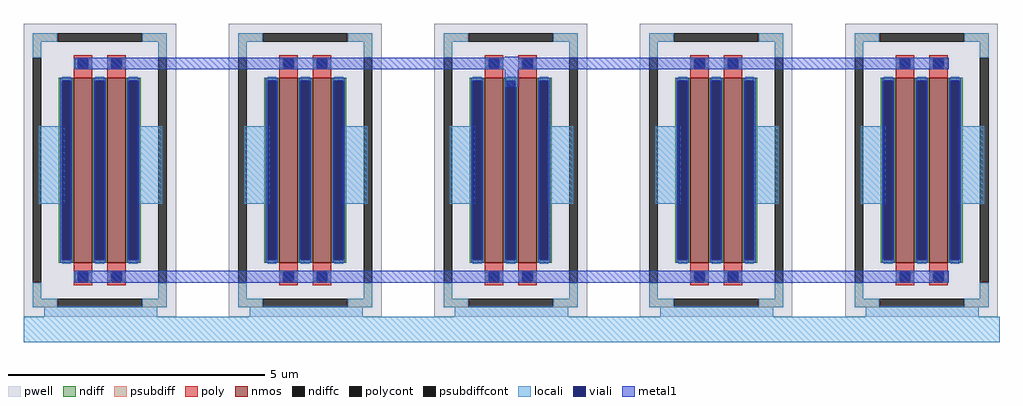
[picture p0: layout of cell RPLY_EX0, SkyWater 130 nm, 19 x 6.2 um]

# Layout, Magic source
magic
tech sky130B
magscale 1 2
<< locali >>
rect 660 340 760 640
rect 1040 340 1140 640
rect 1460 340 1560 640
rect 1840 340 1940 640
rect 2260 340 2360 640
rect 2640 340 2740 640
rect 3060 340 3160 640
rect 3440 340 3540 640
rect 3860 340 3960 640
rect 4240 340 4340 640
rect 680 -100 1120 -60
rect 1480 -100 1920 -60
rect 2280 -100 2720 -60
rect 3080 -100 3520 -60
rect 3880 -100 4320 -60
rect 600 -200 4400 -100
<< metal1 >>
rect 2474 908 2527 912
rect 800 862 4203 908
rect 2474 794 2527 862
rect 800 32 4203 78
use sky130_fd_pr__nfet_01v8_5CE34N  sky130_fd_pr__nfet_01v8_5CE34N_0
transform 1 0 4097 0 1 470
box -297 -570 297 570
use sky130_fd_pr__nfet_01v8_5CE34N  sky130_fd_pr__nfet_01v8_5CE34N_1
transform 1 0 897 0 1 470
box -297 -570 297 570
use sky130_fd_pr__nfet_01v8_5CE34N  sky130_fd_pr__nfet_01v8_5CE34N_2
transform 1 0 1697 0 1 470
box -297 -570 297 570
use sky130_fd_pr__nfet_01v8_5CE34N  sky130_fd_pr__nfet_01v8_5CE34N_3
transform 1 0 2497 0 1 470
box -297 -570 297 570
use sky130_fd_pr__nfet_01v8_5CE34N  sky130_fd_pr__nfet_01v8_5CE34N_4
transform 1 0 3297 0 1 470
box -297 -570 297 570
<< end >>

# cell sky130_fd_pr__nfet_01v8_5CE34N: kit device sky130_fd_pr__nfet_01v8, w 3.6 l 0.36 m 1 nf 2 diffcov 100 polycov 100 guard 1 glc 1 grc 1 gtc 1 gbc 1 tbcov 100 rlcov 100 topc 1 botc 1 poverlap 0 doverlap 1 lmin 0.15 wmin 0.42 compatible {sky130_fd_pr__nfet_01v8 sky130_fd_pr__nfet_01v8_lvt sky130_fd_bs_flash__special_sonosfet_star sky130_fd_pr__nfet_g5v0d10v5 sky130_fd_pr__nfet_05v0_nvt sky130_fd_pr__nfet_03v3_nvt} full_metal 1 viasrc 100 viadrn 100 viagate 100 viagb 0 viagr 0 viagl 0 viagt 0
